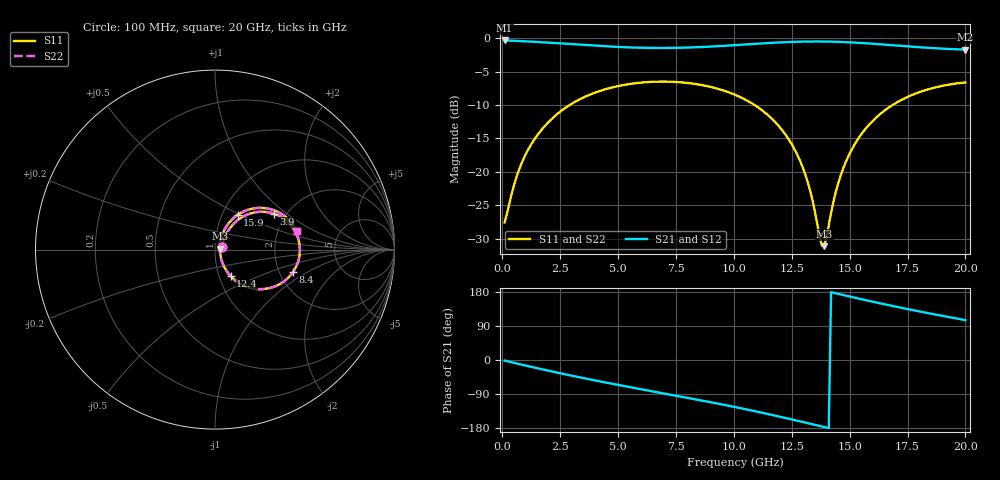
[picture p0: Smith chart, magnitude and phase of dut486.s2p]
! Touchstone file exported from HFSS 2026.1.0
!  File:  C:/ffzhzh/LocalFiles/Ansys_Project_Files/temp_train_TSV_RDL_486_1783105231_46604.aedt
!  Generated:  03:12:39 AM Jul  4, 2026
!  Design:  TSV_RDL
!  Project:  temp_train_TSV_RDL_486_1783105231_46604
! Variables:
!  h_bsmrdl = 2.1um
!  h_ox = 20um
!  h_rdl = 5um
!  h_sub = 50.57um
!  h_tmrdl = 2.15um
!  h_tsv = 50.57um
!  h_via = 3um
!  l_bsmrdl = 803.61um
!  l_sub = 4364.11um
!  l_tmrdl = 364.32um
!  m_sub = 200um
!  pitch = 33.27um
!  r_tsv = 10.87um
!  s_tmrdl = 10um
!  w_bsmrdl = 16.31um
!  w_sub = 500um
!  w_tmrdl = 15.69um
!  x_tsv_center1 = 372.165um
!  x_tsv_center2 = 1192.085um
!  x_tsv_center3 = 1572.095um
!  x_tsv_center4 = 2392.015um
!  x_tsv_center5 = 2772.025um
!  x_tsv_center6 = 3591.945um
# GHz S MA R 50.000000
! Terminal data exported
! Port[1] = TM_RDL1_1_T1
! Port[2] = TM_RDL5_1_T1
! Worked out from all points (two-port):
!   200 points, 100 MHz to 20 GHz, reference 50 ohm
!   highest |S21| = -0.35 dB at 100 MHz (marker M1); lowest = -1.7 dB at 20 GHz (marker M2)
!   |S21| within 3 dB of the highest: start of sweep to end of sweep
!   lowest |S11| = -31.1 dB at 13.9 GHz (marker M3), VSWR 1.06, Z = 52.8 + j0.596 ohm
!   |S11| at or under -10 dB: start of sweep to 2.91 GHz; 10.89 GHz to 16.86 GHz (5.964 GHz wide, 43 % of centre)
!   |S22| runs from -31.5 to -6.5 dB; largest |S21 - S12| = 1.7e-14
!   S11 on the Smith chart (normalised r, x): 100 MHz: 1.08, +0.03; 3.9 GHz: 1.74, +0.82; 8.4 GHz: 2.37, -0.75; 12.4 GHz: 1.14, -0.35; 15.9 GHz: 1.18, +0.48; 20 GHz: 2.54, +0.67
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0.1  0.04195 17.7  0.9603 -1.5  0.9603 -1.5  0.04195 17.7
! Gamma 0 0 0 0
! Port Impedance 50 0 50 0
0.7  0.1013 53.6  0.9514 -10.4  0.9514 -10.4  0.1013 53.6
1.3  0.166 54.6  0.9398 -18.8  0.9398 -18.8  0.166 54.6
2.3  0.2643 47.5  0.9181 -32.3  0.9181 -32.3  0.2643 47.4
3.5  0.3596 35.4  0.8891 -47.7  0.8891 -47.7  0.3596 35.4
3.9  0.385 31.2  0.8799 -52.7  0.8799 -52.7  0.385 31.2
6.8  0.4729 0.8  0.8438 -86.2  0.8438 -86.2  0.473 0.8
8.4  0.4523 -16.1  0.8547 -104.3  0.8547 -104.3  0.4523 -16.1
10.1  0.374 -34.8  0.8868 -124.7  0.8868 -124.7  0.374 -34.9
11.4  0.2724 -49.5  0.9167 -141.6  0.9167 -141.6  0.2723 -49.7
12.4  0.1719 -59.4  0.935 -155.4  0.935 -155.4  0.1718 -59.8
13  0.1054 -61.7  0.9415 -163.9  0.9415 -163.9  0.1051 -62.3
13.4  0.06105 -55.7  0.9434 -169.6  0.9434 -169.6  0.06059 -56.7
13.8  0.02816 -11.7  0.9431 -175.4  0.9431 -175.4  0.02701 -12.4
13.9  0.02786 11.7  0.9427 -176.8  0.9427 -176.8  0.02666 12.0
14.3  0.05969 57.9  0.9398 177.5  0.9398 177.5  0.0591 58.9
14.7  0.1036 64.4  0.9348 171.8  0.9348 171.8  0.1033 65.0
15.2  0.1588 63.0  0.9261 164.7  0.9261 164.7  0.1585 63.4
15.9  0.2311 56.8  0.9102 155.1  0.9102 155.1  0.231 57.1
16.7  0.3035 48.3  0.8891 144.5  0.8891 144.5  0.3034 48.5
18.2  0.4045 31.8  0.8503 125.9  0.8503 125.9  0.4044 31.9
20  0.4663 12.8  0.8206 105.2  0.8206 105.2  0.4662 12.8
